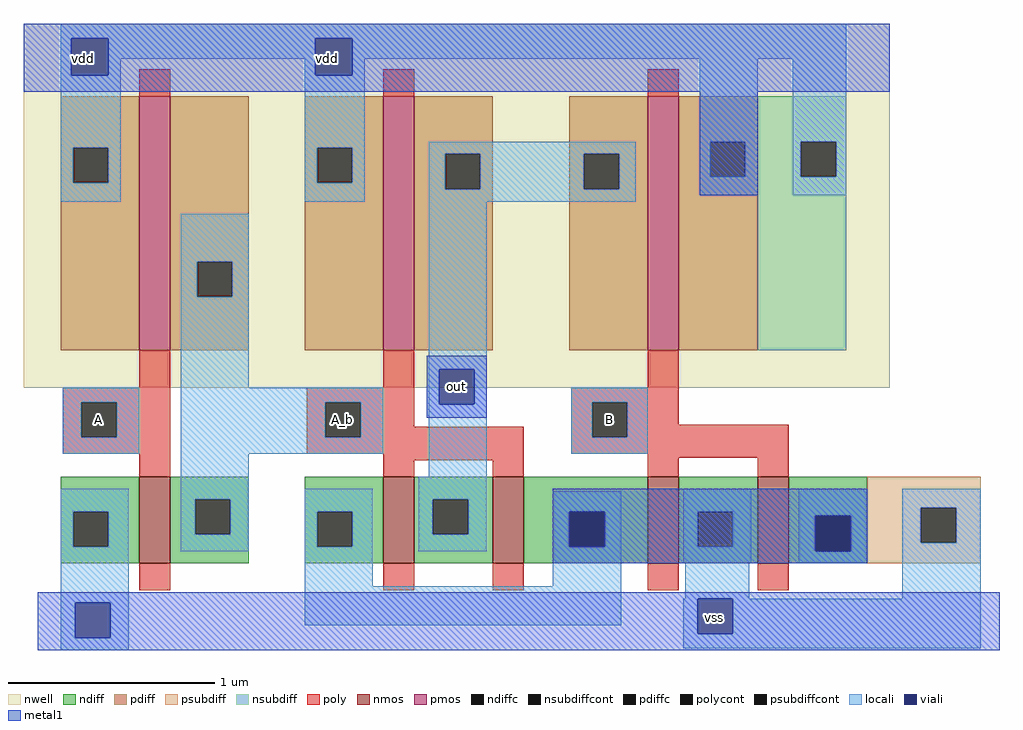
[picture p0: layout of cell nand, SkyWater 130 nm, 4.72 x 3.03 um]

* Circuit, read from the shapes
.subckt nand vdd A vss B out A_b
XM1 A_b A vss vss sky130_fd_pr__nfet_01v8 w=0.42 l=0.15
XM2 out A_b vss vss sky130_fd_pr__nfet_01v8 w=0.42 l=0.15 m=2
XM3 vss B vss vss sky130_fd_pr__nfet_01v8 w=0.42 l=0.15 m=2
XM4 A_b A vdd vdd sky130_fd_pr__pfet_01v8 w=1.23 l=0.15
XM5 out A_b vdd vdd sky130_fd_pr__pfet_01v8 w=1.23 l=0.15
XM6 vdd B out vdd sky130_fd_pr__pfet_01v8 w=1.23 l=0.15
.ends

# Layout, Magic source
magic
tech sky130A
magscale 1 2
<< nwell >>
rect 1216 86 2054 438
<< nmos >>
rect 1328 -84 1358 0
rect 1564 -84 1594 0
rect 1670 -84 1700 0
rect 1820 -84 1850 0
rect 1926 -84 1956 0
<< pmos >>
rect 1328 122 1358 368
rect 1564 122 1594 368
rect 1820 122 1850 368
<< ndiff >>
rect 1252 -34 1328 0
rect 1252 -68 1264 -34
rect 1298 -68 1328 -34
rect 1252 -84 1328 -68
rect 1358 -22 1434 0
rect 1358 -56 1382 -22
rect 1416 -56 1434 -22
rect 1358 -84 1434 -56
rect 1488 -34 1564 0
rect 1488 -68 1500 -34
rect 1534 -68 1564 -34
rect 1488 -84 1564 -68
rect 1594 -22 1670 0
rect 1594 -56 1612 -22
rect 1646 -56 1670 -22
rect 1594 -84 1670 -56
rect 1700 -34 1820 0
rect 1700 -68 1744 -34
rect 1778 -68 1820 -34
rect 1700 -84 1820 -68
rect 1850 -34 1926 0
rect 1850 -68 1868 -34
rect 1902 -68 1926 -34
rect 1850 -84 1926 -68
rect 1956 -38 2032 0
rect 1956 -72 1982 -38
rect 2016 -72 2032 -38
rect 1956 -84 2032 -72
<< pdiff >>
rect 1252 318 1328 368
rect 1252 284 1264 318
rect 1298 284 1328 318
rect 1252 122 1328 284
rect 1358 208 1434 368
rect 1358 174 1384 208
rect 1418 174 1434 208
rect 1358 122 1434 174
rect 1488 318 1564 368
rect 1488 284 1500 318
rect 1534 284 1564 318
rect 1488 122 1564 284
rect 1594 312 1670 368
rect 1594 278 1624 312
rect 1658 278 1670 312
rect 1594 122 1670 278
rect 1744 312 1820 368
rect 1744 278 1758 312
rect 1792 278 1820 312
rect 1744 122 1820 278
rect 1850 324 1926 368
rect 1850 290 1880 324
rect 1914 290 1926 324
rect 1850 122 1926 290
<< ndiffc >>
rect 1264 -68 1298 -34
rect 1382 -56 1416 -22
rect 1500 -68 1534 -34
rect 1612 -56 1646 -22
rect 1744 -68 1778 -34
rect 1868 -68 1902 -34
rect 1982 -72 2016 -38
<< pdiffc >>
rect 1264 284 1298 318
rect 1384 174 1418 208
rect 1500 284 1534 318
rect 1624 278 1658 312
rect 1758 278 1792 312
rect 1880 290 1914 324
<< psubdiff >>
rect 2032 -30 2142 0
rect 2032 -64 2084 -30
rect 2118 -64 2142 -30
rect 2032 -84 2142 -64
<< nsubdiff >>
rect 1926 324 2012 368
rect 1926 290 1968 324
rect 2002 290 2012 324
rect 1926 122 2012 290
<< psubdiffcont >>
rect 2084 -64 2118 -30
<< nsubdiffcont >>
rect 1968 290 2002 324
<< poly >>
rect 1328 368 1358 394
rect 1564 368 1594 394
rect 1820 368 1850 394
rect 1328 86 1358 122
rect 1564 86 1594 122
rect 1820 86 1850 122
rect 1254 72 1358 86
rect 1254 38 1272 72
rect 1306 38 1358 72
rect 1254 22 1358 38
rect 1490 72 1594 86
rect 1490 38 1508 72
rect 1542 48 1594 72
rect 1746 72 1850 86
rect 1542 38 1700 48
rect 1490 22 1700 38
rect 1746 38 1766 72
rect 1800 50 1850 72
rect 1800 38 1956 50
rect 1746 22 1956 38
rect 1328 0 1358 22
rect 1564 16 1700 22
rect 1564 0 1594 16
rect 1670 0 1700 16
rect 1820 18 1956 22
rect 1820 0 1850 18
rect 1926 0 1956 18
rect 1328 -110 1358 -84
rect 1564 -110 1594 -84
rect 1670 -110 1700 -84
rect 1820 -110 1850 -84
rect 1926 -110 1956 -84
<< polycont >>
rect 1272 38 1306 72
rect 1508 38 1542 72
rect 1766 38 1800 72
<< locali >>
rect 1252 424 2012 438
rect 1252 388 1262 424
rect 1298 404 1498 424
rect 1298 388 1310 404
rect 1252 318 1310 388
rect 1252 284 1264 318
rect 1298 284 1310 318
rect 1252 266 1310 284
rect 1488 388 1498 404
rect 1534 404 2012 424
rect 1534 388 1546 404
rect 1488 318 1546 388
rect 1870 324 1926 404
rect 1488 284 1500 318
rect 1534 284 1546 318
rect 1488 266 1546 284
rect 1608 312 1808 324
rect 1608 278 1624 312
rect 1658 278 1758 312
rect 1792 278 1808 312
rect 1608 266 1808 278
rect 1870 290 1880 324
rect 1914 290 1926 324
rect 1870 272 1926 290
rect 1960 324 2012 404
rect 1960 290 1968 324
rect 2002 290 2012 324
rect 1960 272 2012 290
rect 1368 208 1434 254
rect 1368 174 1384 208
rect 1418 174 1434 208
rect 1368 86 1434 174
rect 1608 104 1664 266
rect 1254 72 1328 86
rect 1254 38 1272 72
rect 1306 38 1328 72
rect 1254 22 1328 38
rect 1368 72 1564 86
rect 1368 38 1508 72
rect 1542 38 1564 72
rect 1368 22 1564 38
rect 1608 70 1618 104
rect 1652 70 1664 104
rect 1252 -34 1318 -12
rect 1252 -68 1264 -34
rect 1298 -68 1318 -34
rect 1252 -122 1318 -68
rect 1368 -22 1434 22
rect 1608 0 1664 70
rect 1746 72 1820 86
rect 1746 38 1766 72
rect 1800 38 1820 72
rect 1746 22 1820 38
rect 1368 -56 1382 -22
rect 1416 -56 1434 -22
rect 1368 -72 1434 -56
rect 1488 -34 1554 -12
rect 1488 -68 1500 -34
rect 1534 -68 1554 -34
rect 1252 -156 1266 -122
rect 1300 -156 1318 -122
rect 1488 -106 1554 -68
rect 1598 -22 1664 0
rect 1598 -56 1612 -22
rect 1646 -56 1664 -22
rect 1598 -72 1664 -56
rect 1728 -34 1794 -14
rect 1728 -68 1744 -34
rect 1778 -68 1794 -34
rect 1728 -106 1794 -68
rect 1854 -34 1920 -12
rect 1854 -68 1868 -34
rect 1902 -68 1920 -34
rect 1854 -84 1920 -68
rect 1966 -38 2032 -12
rect 1966 -72 1982 -38
rect 2016 -72 2032 -38
rect 1966 -84 2032 -72
rect 2066 -30 2142 -12
rect 2066 -64 2084 -30
rect 2118 -64 2142 -30
rect 1488 -144 1794 -106
rect 1856 -118 1918 -84
rect 2066 -118 2142 -64
rect 1252 -168 1318 -156
rect 1854 -152 1868 -118
rect 1902 -152 2142 -118
rect 1854 -166 2142 -152
<< viali >>
rect 1262 388 1298 424
rect 1498 388 1534 424
rect 1618 70 1652 104
rect 1266 -156 1300 -122
rect 1744 -68 1778 -34
rect 1982 -72 2016 -38
rect 1868 -152 1902 -118
<< metal1 >>
rect 1216 424 2054 438
rect 1216 388 1262 424
rect 1298 388 1498 424
rect 1534 388 2054 424
rect 1216 372 2054 388
rect 1870 272 1926 372
rect 1606 104 1664 117
rect 1606 70 1618 104
rect 1652 70 1664 104
rect 1606 57 1664 70
rect 1728 -34 2032 -12
rect 1728 -68 1744 -34
rect 1778 -38 2032 -34
rect 1778 -68 1982 -38
rect 1728 -72 1982 -68
rect 2016 -72 2032 -38
rect 1728 -84 2032 -72
rect 1230 -118 2160 -112
rect 1230 -122 1868 -118
rect 1230 -156 1266 -122
rect 1300 -152 1868 -122
rect 1902 -152 2160 -118
rect 1300 -156 2160 -152
rect 1230 -168 2160 -156
<< labels >>
rlabel viali 1510 404 1510 404 7 vdd
port 1 w
rlabel viali 1884 -136 1884 -136 3 vss
port 5 e
rlabel viali 1274 404 1274 404 7 vdd
port 1 w
rlabel polycont 1272 38 1306 72 1 A
port 2 n
rlabel polycont 1508 38 1542 72 1 A_b
port 8 n
rlabel locali 1766 38 1800 72 1 B
port 6 n
rlabel viali 1618 70 1652 104 1 out
port 7 n
<< end >>
